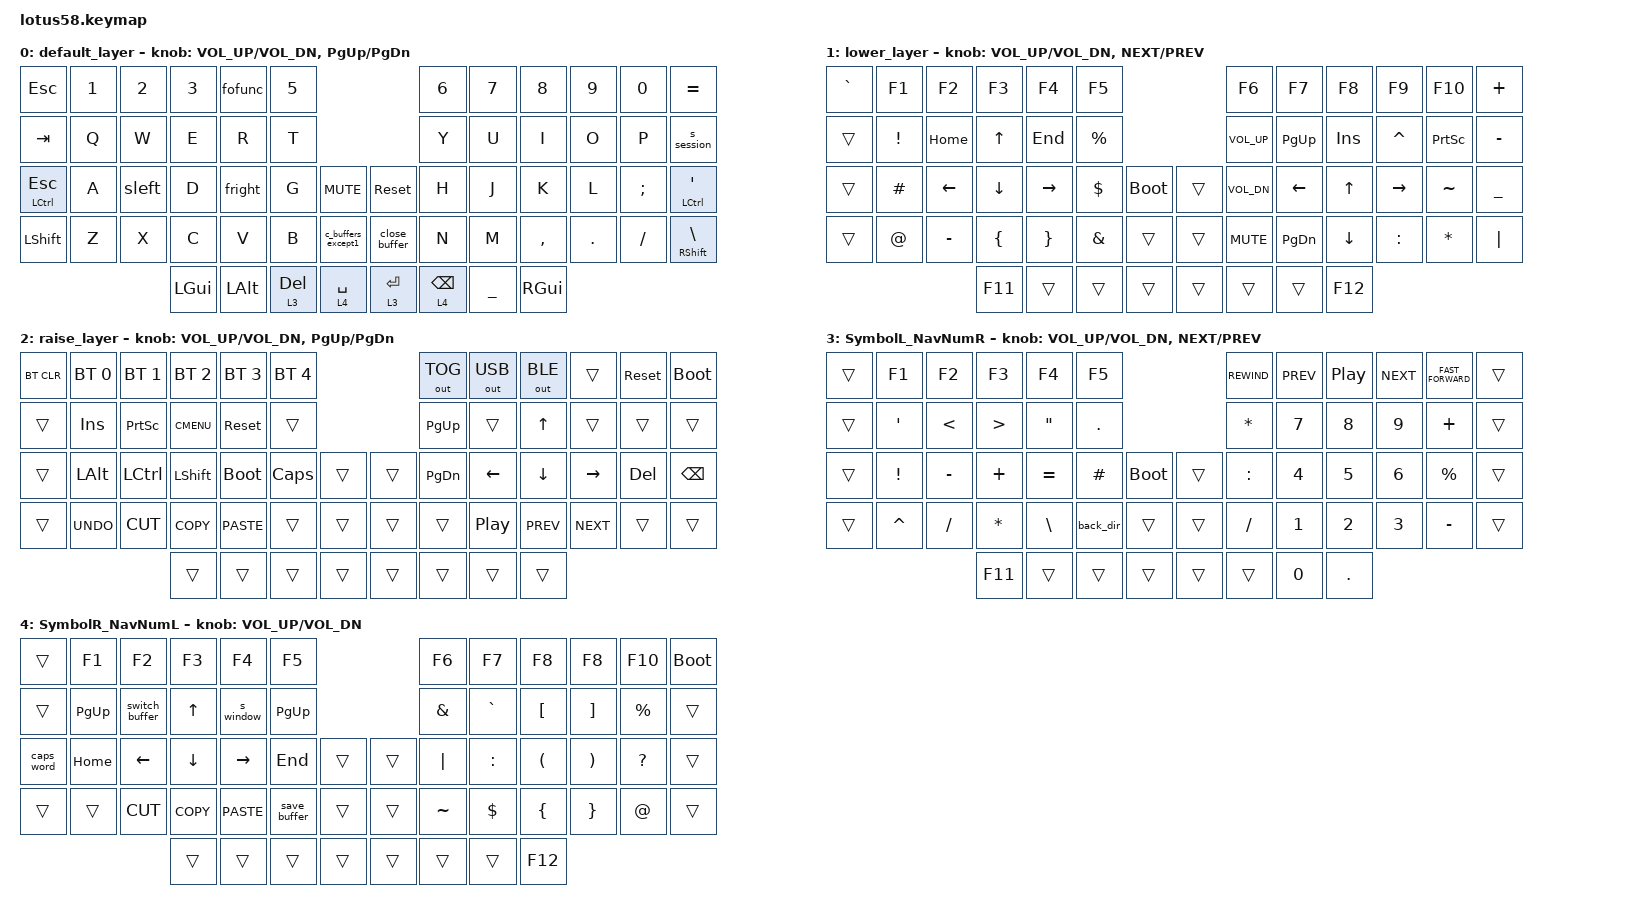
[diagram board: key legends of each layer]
/*
 * Copyright (c) 2022 The ZMK Contributors
 *
 * SPDX-License-Identifier: MIT
 */

#include <behaviors.dtsi>
#include <dt-bindings/zmk/bt.h>
#include <dt-bindings/zmk/keys.h>
#include <dt-bindings/zmk/outputs.h>

/ {
    combos {
        compatible = "zmk,combos";

        combo_dsklg {
            timeout-ms = <100>;
            key-positions = <24 52>;
            layers = <0>;
            bindings = <&kp LGUI>;
        };
    };

    behaviors {
        ht: hold_tap {
            compatible = "zmk,behavior-hold-tap";
            #binding-cells = <2>;
            tapping-term-ms = <100>;
            flavor = "hold-preferred";
            bindings = <&kp>, <&kp>;
        };

        fofunc: four_ffour {
            compatible = "zmk,behavior-mod-morph";
            #binding-cells = <0>;
            bindings = <&kp N4>, <&kp F4>;

            mods = <(MOD_LALT|MOD_RALT)>;
        };

        sleft: s_left {
            compatible = "zmk,behavior-mod-morph";
            #binding-cells = <0>;
            bindings = <&kp S>, <&kp LEFT>;

            mods = <(MOD_LGUI|MOD_RGUI)>;
        };

        fright: f_right {
            compatible = "zmk,behavior-mod-morph";
            #binding-cells = <0>;
            bindings = <&kp F>, <&kp RIGHT>;

            mods = <(MOD_LGUI|MOD_RGUI)>;
        };

        lh_pht: left_positional_hold_tap {
            compatible = "zmk,behavior-hold-tap";
            #binding-cells = <2>;
            flavor = "tap-unless-interrupted";
            tapping-term-ms = <100>;                        // <---[[produces tap if held longer than tapping-term-ms]]
            quick-tap-ms = <200>;
            bindings = <&kp>, <&kp>;
        };

        ht_layer: ht_layer {
            compatible = "zmk,behavior-hold-tap";
            #binding-cells = <2>;
            tapping-term-ms = <150>;
            flavor = "hold-preferred";
            bindings = <&mo>, <&kp>;

            label = "HT_LAYER";
        };
    };

    macros {
        switch_buffer: s_buffer {
            compatible = "zmk,behavior-macro";
            #binding-cells = <0>;
            bindings = <&kp LC(NUMBER_6)>;
            label = "S_BUFFER";
        };

        s_window: s_window {
            compatible = "zmk,behavior-macro";
            #binding-cells = <0>;
            bindings = <&kp LC(A) &kp N>;
            label = "S_WINDOW";
        };

        s_session: s_session {
            compatible = "zmk,behavior-macro";
            #binding-cells = <0>;
            bindings = <&kp LC(A) &kp LS(L)>;
            label = "S_SESSION";
        };

        back_dir: back_dir {
            compatible = "zmk,behavior-macro";
            #binding-cells = <0>;
            bindings = <&kp DOT &kp DOT &kp SLASH>;
            label = "BACK_DIR";
        };

        s_projects: s_projects {
            compatible = "zmk,behavior-macro";
            #binding-cells = <0>;
            bindings = <&kp LC(A) &kp W>;
            label = "S_PROJECTS";
        };

        close_buffer: c_close {
            compatible = "zmk,behavior-macro";
            #binding-cells = <0>;
            bindings = <&kp ESC &kp COLON &kp Q &kp ENTER>;
            label = "C_CLOSE";
        };

        save_buffer: save_buffer {
            compatible = "zmk,behavior-macro";
            #binding-cells = <0>;
            bindings = <&kp ESC &kp COLON &kp W &kp ENTER>;
            label = "SAVE_BUFFER";
        };

        c_buffers_except1: c_buffers_except1 {
            compatible = "zmk,behavior-macro";
            #binding-cells = <0>;
            bindings = <&kp ESC &kp COLON &kp PERCENT &kp B &kp D &kp PIPE &kp E &kp HASH &kp PIPE &kp B &kp D &kp HASH &kp ENTER>;
            label = "C_BUFFERS_EXCEPT1";
        };
    };

    keymap {
        compatible = "zmk,keymap";

        default_layer {
            //   ------------------------------------------------------------------------------------------------------------
            //  0|  ESC  |  1  |  2  |  3   |  4   |  5   |                     |  6   |  7    |  8    |  9   |   0   |   =   | 11
            // 12|  TAB  |  Q  |  W  |  E   |  R   |  T   |                     |  Y   |  U    |  I    |  O   |   P   |   [   | 23
            // 24|  CTRL |  A  |  S  |  D   |  F   |  G   |  RESET  |  | RESET  |  H   |  J    |  K    |  L   |   ;   | ' SFT | 37
            // 38|  SFT  |  Z  |  X  |  C   |  V   |  B   |  MUTE   |  | PLAY   |  N   |  M    |  ,    |  .   |   /   | \ CTRL| 51
            // 52                    |ENT RS|  ALT | SPACE|DELETE LW|  |ENTER RS| BSPC |  ] LW | RGUI  |                        59

            bindings = <
&kp ESC           &kp N1  &kp N2  &kp N3        &fofunc       &kp N5                                                &kp N6                 &kp N7     &kp N8         &kp N9   &kp N0    &kp EQUAL
&kp TAB           &kp Q   &kp W   &kp E         &kp R         &kp T                                                 &kp Y                  &kp U      &kp I          &kp O    &kp P     &s_session
&ht LCTRL ESCAPE  &kp A   &sleft  &kp D         &fright       &kp G            &kp C_MUTE          &sys_reset       &kp H                  &kp J      &kp K          &kp L    &kp SEMI  &ht LCTRL SQT
&kp LSHFT         &kp Z   &kp X   &kp C         &kp V         &kp B            &c_buffers_except1  &close_buffer    &kp N                  &kp M      &kp COMMA      &kp DOT  &kp FSLH  &ht RSHFT BSLH
                                  &kp LEFT_GUI  &kp LEFT_ALT  &ht_layer 3 DEL  &lt 4 SPACE         &ht_layer 3 RET  &ht_layer 4 BACKSPACE  &kp UNDER  &kp RIGHT_GUI
            >;

            sensor-bindings =
                <&inc_dec_kp C_VOL_UP C_VOL_DN>,
                <&inc_dec_kp PG_UP PG_DN>;
        };

        lower_layer {
            // ------------------------------------------------------------------------------------------------------------
            // | `     |  F1 |  F2 |  F3  |  F4  |  F5  |                   |  F6  |  F7   |  F8   |  F9  |  F10  |  F11  |
            // |       |  !  | HOME|   ^  |  END |  %   |                   | VOL^ |  PGUP |  INS  |  ^   |  PSCR |   -   |
            // |       |  #  |  <- |   v  | ->   |  $   |        |  |       | VOLv |    <- |   ^   |  ->  |   ~   |   _   |
            // |       |  @  |  -  |  (   |  )   |  &   |        |  |       | MUTE |  PGDN |   v   |  :   |   *   |   |   |
            //                     |  F11 |      |      |        |  |       |      |       |  F12  |

            bindings = <
&kp GRAVE  &kp F1    &kp F2     &kp F3    &kp F4     &kp F5                          &kp F6        &kp F7     &kp F8    &kp F9     &kp F10    &kp PLUS
&trans     &kp EXCL  &kp HOME   &kp UP    &kp END    &kp PRCNT                       &kp C_VOL_UP  &kp PG_UP  &kp INS   &kp CARET  &kp PSCRN  &kp MINUS
&trans     &kp HASH  &kp LEFT   &kp DOWN  &kp RIGHT  &kp DLLR   &bootloader  &trans  &kp C_VOL_DN  &kp LEFT   &kp UP    &kp RIGHT  &kp TILDE  &kp UNDER
&trans     &kp AT    &kp MINUS  &kp LBRC  &kp RBRC   &kp AMPS   &trans       &trans  &kp C_MUTE    &kp PG_DN  &kp DOWN  &kp COLON  &kp STAR   &kp PIPE
                                &kp F11   &trans     &trans     &trans       &trans  &trans        &trans     &kp F12
            >;

            sensor-bindings =
                <&inc_dec_kp C_VOL_UP C_VOL_DN>,
                <&inc_dec_kp C_NEXT C_PREV>;
        };

        raise_layer {
            // ------------------------------------------------------------------------------------------------------------
            // |BTCLR| BT1  | BT2  |  BT3  |  BT4  |  BT5 |                |OUTTOG|OUTUSB| OUTBT |      | RESET | FLASH |
            // |     | INS  | PSCR | GUI   | RESET |      |                | PGUP |      |   ^   |      |       |       |
            // |     | ALT  | CTRL | SHIFT | FLASH | CAPS |      |  |      | PGDN |   <- |   v   |  ->  |  DEL  | BSPC  |
            // |     | UNDO | CUT  | COPY  | PASTE |      |      |  |      |      |  |>  |  <|<| | |>|> |       |       |
            //                     |       |       |      |      |  |      |      |      |       |

            bindings = <
&bt BT_CLR  &bt BT_SEL 0  &bt BT_SEL 1  &bt BT_SEL 2  &bt BT_SEL 3  &bt BT_SEL 4                  &out OUT_TOG  &out OUT_USB  &out OUT_BLE  &trans      &sys_reset  &bootloader
&trans      &kp INS       &kp PSCRN     &kp K_CMENU   &sys_reset    &trans                        &kp PG_UP     &trans        &kp UP        &trans      &trans      &trans
&trans      &kp LALT      &kp LCTRL     &kp LSHFT     &bootloader   &kp CLCK      &trans  &trans  &kp PG_DN     &kp LEFT      &kp DOWN      &kp RIGHT   &kp DEL     &kp BSPC
&trans      &kp K_UNDO    &kp K_CUT     &kp K_COPY    &kp K_PASTE   &trans        &trans  &trans  &trans        &kp C_PP      &kp C_PREV    &kp C_NEXT  &trans      &trans
                                        &trans        &trans        &trans        &trans  &trans  &trans        &trans        &trans
            >;

            sensor-bindings =
                <&inc_dec_kp C_VOL_UP C_VOL_DN>,
                <&inc_dec_kp PG_UP PG_DN>;
        };

        SymbolL_NavNumR {
            bindings = <
&trans  &kp F1            &kp F2         &kp F3            &kp F4             &kp F5                          &kp C_REWIND  &kp C_PREV    &kp C_PLAY_PAUSE  &kp C_NEXT    &kp C_FAST_FORWARD  &trans
&trans  &kp SINGLE_QUOTE  &kp LESS_THAN  &kp GREATER_THAN  &kp DOUBLE_QUOTES  &kp DOT                         &kp STAR      &kp N7        &kp N8            &kp N9        &kp PLUS            &trans
&trans  &kp EXCL          &kp MINUS      &kp PLUS          &kp EQUAL          &kp HASH   &bootloader  &trans  &kp COLON     &kp NUMBER_4  &kp N5            &kp NUMBER_6  &kp PERCENT         &trans
&trans  &kp CARET         &kp SLASH      &kp STAR          &kp BACKSLASH      &back_dir  &trans       &trans  &kp SLASH     &kp NUMBER_1  &kp NUMBER_2      &kp NUMBER_3  &kp MINUS           &trans
                                         &kp F11           &trans             &trans     &trans       &trans  &trans        &kp N0        &kp DOT
            >;

            sensor-bindings =
                <&inc_dec_kp C_VOL_UP C_VOL_DN>,
                <&inc_dec_kp C_NEXT C_PREV>;
        };

        SymbolR_NavNumL {
            bindings = <
&trans      &kp F1       &kp F2          &kp F3          &kp F4       &kp F5                        &kp F6         &kp F7      &kp F8                &kp F8                 &kp F10       &bootloader
&trans      &kp PAGE_UP  &switch_buffer  &kp UP_ARROW    &s_window    &kp PAGE_UP                   &kp AMPERSAND  &kp GRAVE   &kp LEFT_BRACKET      &kp RIGHT_BRACKET      &kp PERCENT   &trans
&caps_word  &kp HOME     &kp LEFT        &kp DOWN_ARROW  &kp RIGHT    &kp END       &trans  &trans  &kp PIPE       &kp COLON   &kp LEFT_PARENTHESIS  &kp RIGHT_PARENTHESIS  &kp QUESTION  &trans
&trans      &trans       &kp K_CUT       &kp K_COPY      &kp K_PASTE  &save_buffer  &trans  &trans  &kp TILDE      &kp DOLLAR  &kp LEFT_BRACE        &kp RIGHT_BRACE        &kp AT        &trans
                                         &trans          &trans       &trans        &trans  &trans  &trans         &trans      &kp F12
            >;

            sensor-bindings = <&inc_dec_kp C_VOLUME_UP C_VOL_DN>;
        };
    };
};
